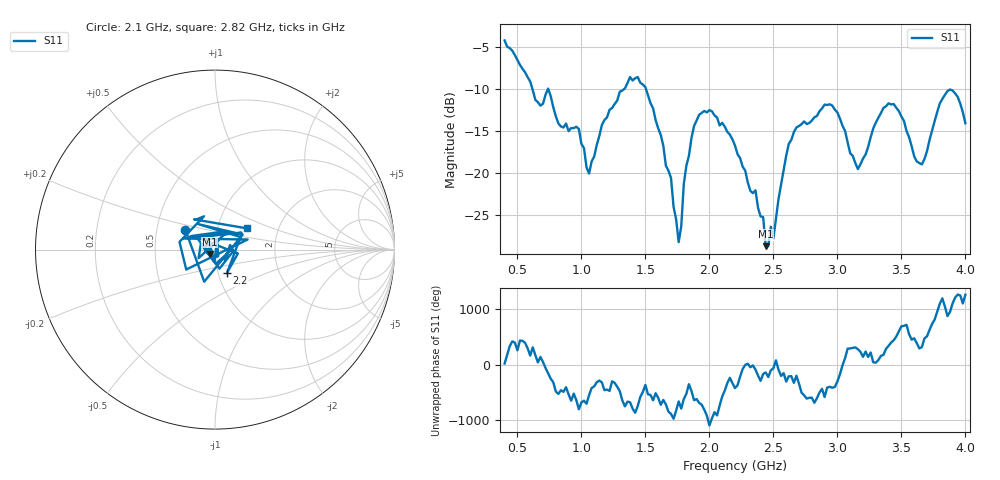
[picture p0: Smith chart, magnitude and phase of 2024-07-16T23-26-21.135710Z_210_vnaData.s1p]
!Created with skrf (http://scikit-rf.org).
# Hz S RI R 50.0
!freq ReS11 ImS11
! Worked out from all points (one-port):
!   181 points, 400 MHz to 4 GHz, reference 50 ohm
!   lowest |S11| = -28.7 dB at 2.44 GHz (marker M1), VSWR 1.08, Z = 47.2 - j2.23 ohm
!   |S11| at or under -10 dB: 616.8 MHz to 739.5 MHz (122.7 MHz wide, 18.1 % of centre); 740.4 MHz to 1.337 GHz (596.3 MHz wide, 57.4 % of centre); 1.504 GHz to end of sweep
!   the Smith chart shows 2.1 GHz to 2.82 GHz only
!   S11 on the Smith chart (normalised r, x): 2.1 GHz: 0.70, +0.16; 2.2 GHz: 1.10, -0.29; 2.82 GHz: 1.39, +0.34
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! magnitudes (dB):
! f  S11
! 400 MHz  -4.3
! 680 MHz  -12.0
! 740 MHz  -10.0
! 860 MHz  -14.6
! 980 MHz  -14.8
! 1.06 GHz  -20.1
! 1.3 GHz  -10.4
! 1.5 GHz  -9.8
! 1.7 GHz  -20.6
! 1.76 GHz  -28.2
! 1.8 GHz  -21.3
! 1.88 GHz  -14.4
! 2.1 GHz  -14.0
! 2.2 GHz  -16.7
! 2.36 GHz  -22.0
! 2.44 GHz  -28.7
! 2.5 GHz  -27.7
! 2.6 GHz  -18.0
! 2.66 GHz  -15.1
! 2.82 GHz  -13.4
! 2.96 GHz  -12.0
! 3.1 GHz  -17.6
! 3.16 GHz  -19.5
! 3.4 GHz  -11.7
! 3.56 GHz  -15.7
! 3.66 GHz  -19.0
! 3.88 GHz  -10.1
! 4 GHz  -14.1
